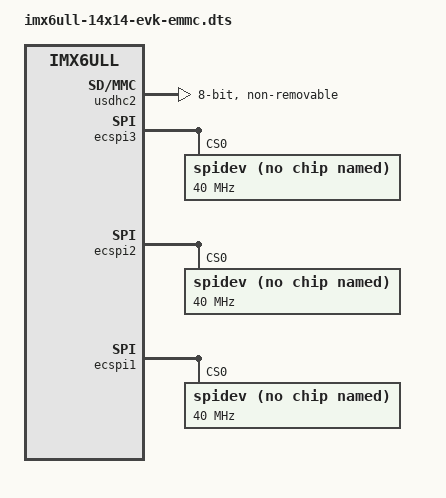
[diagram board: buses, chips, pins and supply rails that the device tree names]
/*
 * Copyright (C) 2016 Freescale Semiconductor, Inc.
 *
 * This program is free software; you can redistribute it and/or modify
 * it under the terms of the GNU General Public License version 2 as
 * published by the Free Software Foundation.
 */

#include "imx6ull-14x14-evk.dts"

&gpmi {
	status = "disable";
};

&usdhc2 {
	pinctrl-names = "default", "state_100mhz", "state_200mhz";
	pinctrl-0 = <&pinctrl_usdhc2_8bit>;
	pinctrl-1 = <&pinctrl_usdhc2_8bit_100mhz>;
	pinctrl-2 = <&pinctrl_usdhc2_8bit_200mhz>;
	bus-width = <8>;
	non-removable;
	status = "okay";
};

&ecspi3 {
	fsl,spi-num-chipselects = <1>;
	/*cs-gpios = <&gpio5 29 0>;*/
	cs-gpios = <0>;
	pinctrl-names = "default";
	pinctrl-0 = <&pinctrl_ecspi3>;
	status = "okay";
	
	spidev@0 {
		reg = <0>;      /* CS0 */
		compatible = "spidev";
		spi-max-frequency = <40000000>;
	};
};

&ecspi2 {
	fsl,spi-num-chipselects = <1>;
	/*cs-gpios = <&gpio5 29 0>;*/
	cs-gpios = <0>;
	pinctrl-names = "default";
	pinctrl-0 = <&pinctrl_ecspi2>;
	status = "okay";
	
	spidev@0 {
		reg = <0>;      /* CS0 */
		compatible = "spidev";
		spi-max-frequency = <40000000>;
	};
};

&ecspi1 {
	fsl,spi-num-chipselects = <1>;
	/*cs-gpios = <&gpio5 29 0>;*/
	cs-gpios = <0>;
	pinctrl-names = "default";
	pinctrl-0 = <&pinctrl_ecspi1>;
	status = "okay";
	
	spidev@0 {
		reg = <0>;      /* CS0 */
		compatible = "spidev";
		spi-max-frequency = <40000000>;
	};
};

